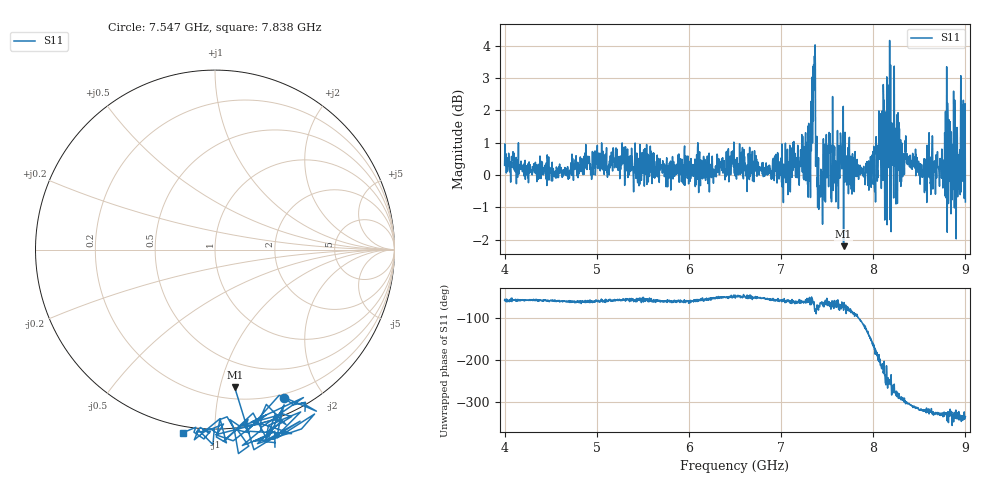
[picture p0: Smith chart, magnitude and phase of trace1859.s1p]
! Created with skrf 1.8.0 (http://scikit-rf.org).
# Hz S RI R 50.0
!freq ReS11 ImS11
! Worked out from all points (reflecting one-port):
!   1601 points, 4 GHz to 9 GHz, reference 50 ohm
!   lowest |S11| = -2.2 dB at 7.678 GHz (marker M1), VSWR 7.92, Z = 14.4 - j55.6 ohm
!   phase of S11 starts at -58 deg and turns -277 deg over the sweep
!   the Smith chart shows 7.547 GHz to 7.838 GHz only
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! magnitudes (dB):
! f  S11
! 4 GHz  0.3
! 4.625 GHz  -0.1
! 5.25 GHz  -0.1
! 5.875 GHz  0.1
! 6.5 GHz  0.5
! 7.125 GHz  0.5
! 7.294 GHz  -0.7
! 7.319 GHz  -0.7
! 7.347 GHz  3.4
! 7.369 GHz  4.0
! 7.4 GHz  -0.2
! 7.428 GHz  -0.3
! 7.509 GHz  0.1
! 7.609 GHz  0.5
! 7.65 GHz  0.6
! 7.678 GHz  -2.2
! 7.75 GHz  0.0
! 8.025 GHz  -0.8
! 8.056 GHz  0.9
! 8.156 GHz  2.8
! 8.197 GHz  0.9
! 8.375 GHz  0.6
! 8.556 GHz  -0.5
! 8.766 GHz  0.0
! 8.822 GHz  1.7
! 8.919 GHz  -0.2
! 8.972 GHz  0.8
! 9 GHz  -0.8
